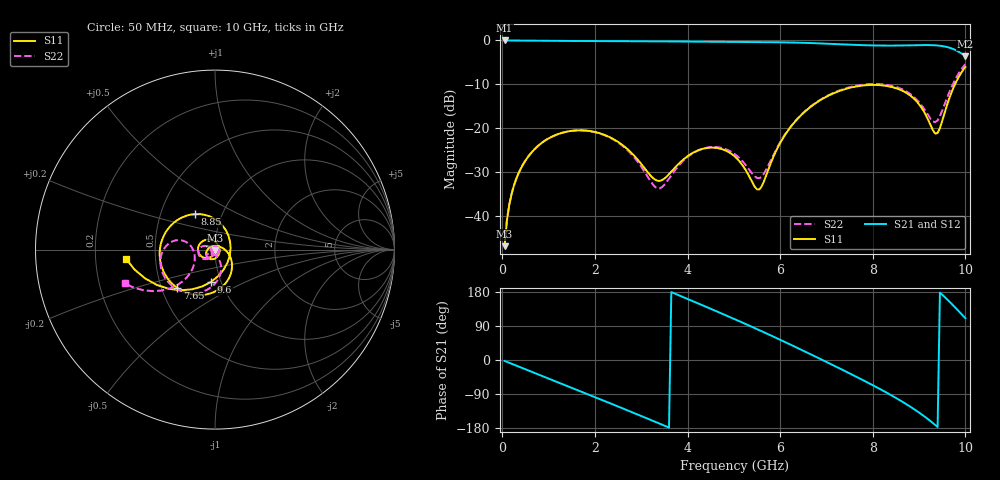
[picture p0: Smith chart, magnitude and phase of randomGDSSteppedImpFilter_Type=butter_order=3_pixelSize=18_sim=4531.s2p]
! freq	dB(S11)	phase(S11)	dB(S12)	phase(S12)
!  dB(S21)	phase(S21)	dB(S22)	phase(S22)
!S-par simulation data
#  GHz  S  DB  R 50
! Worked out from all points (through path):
!   200 points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, 50 MHz to 10 GHz, reference 50 ohm
!   highest |S21| = -0.01 dB at 50 MHz (marker M1); lowest = -3.6 dB at 10 GHz (marker M2)
!   group delay of S21, straight-line fit = 158 ps
!   lowest |S11| = -46.8 dB at 50 MHz (marker M3), VSWR 1.01, Z = 50 - j0.456 ohm
!   |S11| at or under -10 dB: start of sweep to 9.775 GHz
!   |S22| runs from -46.8 to -5.4 dB; largest |S21 - S12| = 0
!   S11 on the Smith chart (normalised r, x): 50 MHz: 1.00, -0.01; 7.65 GHz: 0.60, -0.28; 8.85 GHz: 0.74, +0.31; 9.6 GHz: 0.90, -0.33; 10 GHz: 0.34, -0.05
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0.05  -46.82 -88.5  -0.01 -2.5  -0.01 -2.5  -46.81 -88.1
0.1  -40.91 -93.2  -0.01 -5.0  -0.01 -5.0  -40.90 -92.5
0.2  -34.97 -99.8  -0.02 -9.9  -0.02 -9.9  -34.96 -98.2
0.5  -27.33 -116.8  -0.04 -24.6  -0.04 -24.6  -27.32 -112.9
1.05  -22.01 -146.8  -0.09 -51.5  -0.09 -51.5  -22.01 -138.2
1.75  -20.47 174.5  -0.14 -85.7  -0.14 -85.7  -20.49 -168.5
2.5  -23.08 127.2  -0.17 -122.7  -0.17 -122.7  -23.22 163.6
3.4  -31.95 4.5  -0.21 -168.1  -0.21 -168.1  -33.65 -158.7
3.8  -28.16 -65.7  -0.25 171.5  -0.25 171.5  -28.60 -124.7
4.25  -24.93 -107.8  -0.30 148.2  -0.30 148.2  -24.93 -130.1
5.05  -26.70 -171.6  -0.35 106.0  -0.35 106.0  -26.12 -148.6
5.55  -33.91 83.9  -0.37 78.7  -0.37 78.7  -31.35 -108.7
6.1  -21.59 -19.6  -0.44 47.7  -0.44 47.7  -21.46 -68.3
6.7  -14.77 -66.5  -0.61 12.7  -0.61 12.7  -14.70 -88.6
7.15  -12.04 -98.6  -0.81 -14.1  -0.81 -14.1  -11.93 -109.6
7.65  -10.46 -134.7  -1.03 -44.5  -1.03 -44.5  -10.29 -134.3
8.35  -10.45 169.7  -1.18 -89.6  -1.18 -89.6  -10.19 -169.2
8.85  -12.88 119.3  -1.10 -126.3  -1.10 -126.3  -12.53 168.3
9.35  -21.20 4.2  -1.11 -171.6  -1.11 -171.6  -18.59 -166.2
9.6  -14.81 -97.2  -1.49 160.7  -1.49 160.7  -13.18 -135.3
9.8  -9.44 -139.6  -2.26 136.0  -2.26 136.0  -8.51 -142.6
10  -6.04 -174.1  -3.61 110.2  -3.61 110.2  -5.42 -159.4
